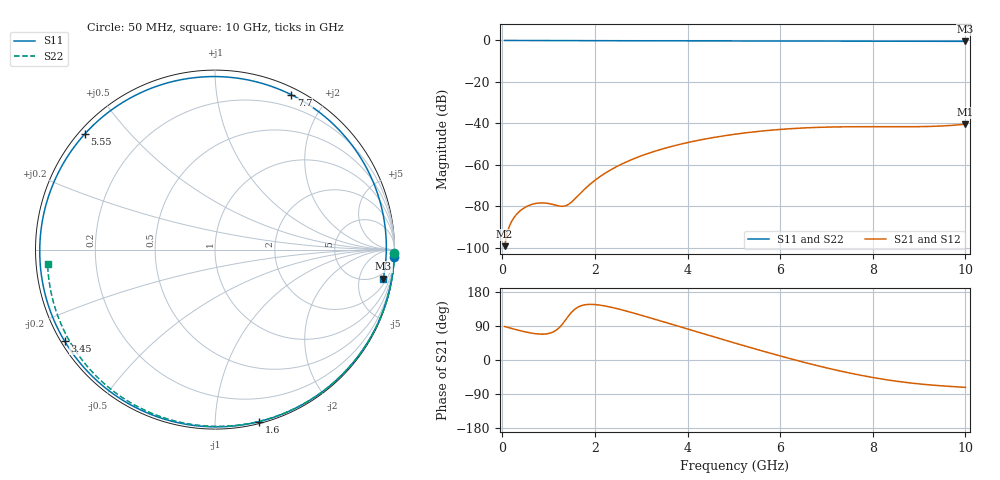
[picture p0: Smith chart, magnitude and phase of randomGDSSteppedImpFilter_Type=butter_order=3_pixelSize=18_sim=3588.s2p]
! freq	dB(S11)	phase(S11)	dB(S12)	phase(S12)
!  dB(S21)	phase(S21)	dB(S22)	phase(S22)
!S-par simulation data
#  GHz  S  DB  R 50
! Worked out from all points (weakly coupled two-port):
!   200 points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, 50 MHz to 10 GHz, reference 50 ohm
!   highest |S21| = -40.35 dB at 10 GHz (marker M1); lowest = -99.2 dB at 50 MHz (marker M2)
!   lowest |S11| = -0.4 dB at 10 GHz (marker M3), VSWR 40.38, Z = 158 - j540 ohm
!   |S11| at or under -10 dB: nowhere
!   |S22| runs from -0.6 to 0.0 dB; largest |S21 - S12| = 0
!   S11 on the Smith chart (normalised r, x): 50 MHz: 0, -46; 1.6 GHz: 0.01, -1.29; 3.45 GHz: 0.01, -0.28; 5.55 GHz: 0.02, +0.38; 7.7 GHz: 0.07, +1.60; 10 GHz: 3, -11
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0.05  -0.00 -2.5  -99.21 88.3  -99.21 88.3  -0.00 -1.0
0.6  -0.04 -29.3  -79.36 71.6  -79.36 71.6  -0.02 -12.1
0.9  -0.06 -43.6  -78.37 68.3  -78.37 68.3  -0.02 -18.0
1.3  -0.08 -62.1  -79.99 95.0  -79.99 95.0  -0.03 -25.9
1.45  -0.08 -68.9  -78.74 119.4  -78.74 119.4  -0.04 -28.9
1.6  -0.09 -75.5  -75.66 137.0  -75.66 137.0  -0.04 -31.8
1.75  -0.10 -82.0  -72.28 144.9  -72.28 144.9  -0.04 -34.7
2.05  -0.11 -94.7  -66.60 145.7  -66.60 145.7  -0.05 -40.5
2.45  -0.13 -110.9  -61.07 136.4  -61.07 136.4  -0.06 -48.1
2.95  -0.15 -130.2  -56.08 119.9  -56.08 119.9  -0.07 -57.5
3.4  -0.17 -146.9  -52.70 103.7  -52.70 103.7  -0.09 -65.7
3.45  -0.17 -148.7  -52.37 101.9  -52.37 101.9  -0.09 -66.6
4.25  -0.20 -177.0  -48.08 72.6  -48.08 72.6  -0.11 -80.8
5.05  -0.24 155.5  -45.14 43.7  -45.14 43.7  -0.15 -94.6
5.55  -0.26 138.3  -43.81 26.1  -43.81 26.1  -0.17 -102.9
6.15  -0.29 117.6  -42.66 5.8  -42.66 5.8  -0.20 -112.8
6.7  -0.31 98.5  -42.01 -11.8  -42.01 -11.8  -0.24 -121.6
7.2  -0.33 81.1  -41.70 -26.4  -41.70 -26.4  -0.28 -129.6
7.7  -0.34 63.8  -41.59 -39.4  -41.59 -39.4  -0.32 -137.6
8.35  -0.35 41.7  -41.62 -53.1  -41.62 -53.1  -0.38 -148.0
9.15  -0.38 15.8  -41.51 -64.9  -41.51 -64.9  -0.47 -160.9
10  -0.43 -9.8  -40.35 -72.3  -40.35 -72.3  -0.58 -175.1
